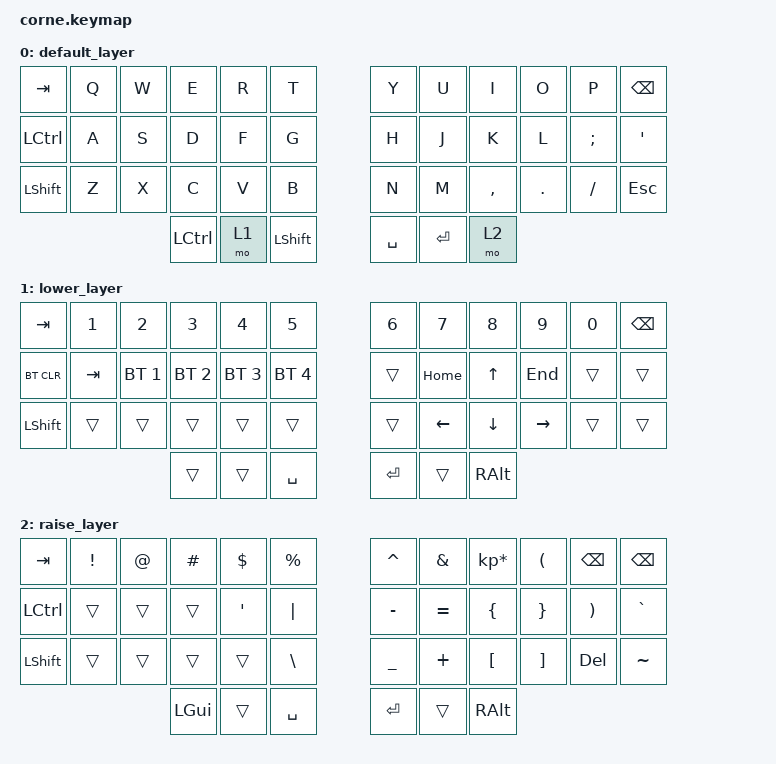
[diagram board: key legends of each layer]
/*
 * Copyright (c) 2020 The ZMK Contributors
 *
 * SPDX-License-Identifier: MIT
 */
 
 
#define DEFAULT 0
#define LOWER   1
#define RAISE   2

#include <behaviors.dtsi>
#include <dt-bindings/zmk/keys.h>
#include <dt-bindings/zmk/bt.h>
#include <dt-bindings/zmk/outputs.h>

/ {
        keymap {
                compatible = "zmk,keymap";

                default_layer {
// -----------------------------------------------------------------------------------------
// |  TAB |  Q  |  W  |  E  |  R  |  T  |   |  Y  |  U   |  I  |  O  |  P  | BKSP |
// | CTRL |  A  |  S  |  D  |  F  |  G  |   |  H  |  J   |  K  |  L  |  ;  |  '   |
// | SHFT |  Z  |  X  |  C  |  V  |  B  |   |  N  |  M   |  ,  |  .  |  /  | ESC  |
//                    | GUI | LWR | SPC |   | ENT | RSE  | ALT |
                        bindings = <
   &kp TAB   &kp Q &kp W &kp E &kp R &kp T   &kp Y &kp U  &kp I     &kp O   &kp P    &kp BSPC
   &kp LCTRL &kp A &kp S &kp D &kp F &kp G   &kp H &kp J  &kp K     &kp L   &kp SEMI &kp SQT
   &kp LSHFT &kp Z &kp X &kp C &kp V &kp B   &kp N &kp M  &kp COMMA &kp DOT &kp FSLH &kp ESC
                  &kp LCTRL &mo 1 &kp LSHFT  &kp SPACE &kp RET &mo 2 
                        >;
                };
                lower_layer {
// -----------------------------------------------------------------------------------------
// |  TAB |  1  |  2  |  3  |  4  |  5  |   |  6  |  7  |  8  |  9  |  0  | BKSP |
// | BTCLR| BT1 | BT2 | BT3 | BT4 | BT5 |   | LFT | DWN |  UP | RGT |     |      |
// | SHFT |     |     |     |     |     |   |     |     |     |     |     |      |
//                    | GUI |     | SPC |   | ENT |     | ALT |
                        bindings = <
   &kp TAB    &kp N1       &kp N2       &kp N3       &kp N4       &kp N5         &kp N6   &kp N7   &kp N8   &kp N9    &kp N0 &kp BSPC
   &bt BT_CLR &kp TAB      &bt BT_SEL 1 &bt BT_SEL 2 &bt BT_SEL 3 &bt BT_SEL 4   &trans   &kp HOME &kp UP   &kp END   &trans &trans
   &kp LSHFT  &trans       &trans       &trans       &trans       &trans         &trans   &kp LEFT &kp DOWN &kp RIGHT &trans &trans
                          	        &trans       &trans       &kp SPACE      &kp RET  &trans   &kp RALT
                        >;
                };

                raise_layer {
// -----------------------------------------------------------------------------------------
// |  TAB |  !  |  @  |  #  |  $  |  %  |   |  ^  |  &  |  *  |  (  |  )   | BKSP |
// | CTRL |     |     |     |     |     |   |  -  |  =  |  [  |  ]  | BKSP |  `   |
// | SHFT |     |     |     |     |     |   |  _  |  +  |  {  |  }  | "|"  |  ~   |
//                    | GUI |     | SPC |   | ENT |     | ALT |
                        bindings = <
   &kp  TAB  &kp EXCL &kp AT &kp HASH &kp DLLR &kp PRCNT   &kp CARET &kp AMPS  &kp KP_MULTIPLY &kp LPAR &kp BSPC &kp BSPC
   &kp LCTRL &trans   &trans &trans   &kp SQT     &kp PIPE    &kp MINUS &kp EQUAL &kp LBRC        &kp RBRC &kp RPAR &kp GRAVE
   &kp LSHFT &trans   &trans &trans   &trans   &kp BSLH    &kp UNDER &kp PLUS  &kp LBKT        &kp RBKT &kp DEL &kp TILDE
                    	     &kp LGUI &trans   &kp SPACE   &kp RET   &trans    &kp RALT
                        >;
                };
        };
};

//&nice_view_spi {
//    cs-gpios = <&pro_micro 0 GPIO_ACTIVE_HIGH>;
//};
